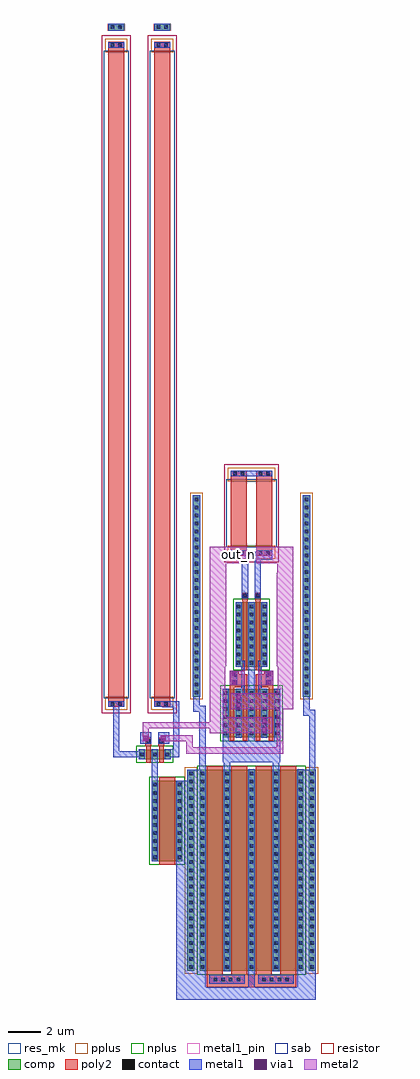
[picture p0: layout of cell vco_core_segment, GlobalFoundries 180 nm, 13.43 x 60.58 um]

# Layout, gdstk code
from math import pi, radians
import gdstk
lib = gdstk.Library(unit=1e-6, precision=1e-09)
def R(c, l, rs):  # rectangles x0, y0, x1, y1
    for r in rs: c.add(gdstk.rectangle(r[:2], r[2:], *l))
def A(c, l, x, y, w, h, nx, ny, dx, dy):  # array of equal rectangles
    R(c, l, [(x+i*dx, y+j*dy, x+i*dx+w, y+j*dy+h) for i in range(nx) for j in range(ny)])
def P(c, l, *ps):  # polygons
    for p in ps: c.add(gdstk.Polygon(p, *l))
comp = (22, 0)
poly2 = (30, 0)
pplus = (31, 0)
nplus = (32, 0)
contact = (33, 0)
metal1 = (34, 0)
metal1_pin = (34, 10)
via1 = (35, 0)
metal2 = (36, 0)
sab = (49, 0)
resistor = (62, 0)
res_mk = (110, 5)

nfet_4 = lib.new_cell('nfet$4')
R(nfet_4, comp, [(0,0,1.96,0.6)])
R(nfet_4, poly2, [(0.44,-0.22,0.72,0.82), (1.24,-0.22,1.52,0.82)])
R(nfet_4, nplus, [(-0.16,-0.23,2.12,0.83)])
A(nfet_4, contact, 0.07, 0.19, 0.22, 0.22, 3, 1, 0.8, 0)
A(nfet_4, metal1, -0.01, -0.01, 0.38, 0.62, 3, 1, 0.8, 0)

nfet_5 = lib.new_cell('nfet$5')
R(nfet_5, comp, [(0,0,1.96,4)])
R(nfet_5, poly2, [(0.44,-0.22,0.72,4.22), (1.24,-0.22,1.52,4.22)])
R(nfet_5, nplus, [(-0.16,-0.23,2.12,4.23)])
A(nfet_5, contact, 0.07, 0.14, 0.22, 0.22, 3, 8, 0.8, 0.5)
A(nfet_5, metal1, -0.01, -0.01, 0.38, 4.02, 3, 1, 0.8, 0)

nfet_7 = lib.new_cell('nfet$7')
R(nfet_7, comp, [(0,0,3.56,3)])
A(nfet_7, poly2, 0.44, -0.22, 0.28, 3.44, 4, 1, 0.8, 0)
R(nfet_7, nplus, [(-0.16,-0.23,3.72,3.23)])
A(nfet_7, contact, 0.07, 0.14, 0.22, 0.22, 5, 6, 0.8, 0.5)
A(nfet_7, metal1, -0.01, -0.01, 0.38, 3.02, 5, 1, 0.8, 0)

nfet_10 = lib.new_cell('nfet$10')
R(nfet_10, comp, [(0,0,1.88,5)])
R(nfet_10, poly2, [(0.44,-0.22,1.44,5.22)])
R(nfet_10, nplus, [(-0.16,-0.23,2.04,5.23)])
A(nfet_10, contact, 0.07, 0.14, 0.22, 0.22, 1, 10, 0, 0.5)
A(nfet_10, contact, 1.59, 0.14, 0.22, 0.22, 1, 10, 0, 0.5)
R(nfet_10, metal1, [(-0.01,-0.01,0.37,5.01), (1.51,-0.01,1.89,5.01)])

ppolyf_u_high_rs_resisto = lib.new_cell('ppolyf_u_high_Rs_resistor')
R(ppolyf_u_high_rs_resisto, comp, [(-1.76,0,-1.34,1)])
R(ppolyf_u_high_rs_resisto, poly2, [(-0.64,0,40.64,1)])
R(ppolyf_u_high_rs_resisto, pplus, [(-0.82,-0.18,0,1.18), (40,-0.18,40.82,1.18), (-1.78,-0.02,-1.32,1.02)])
R(ppolyf_u_high_rs_resisto, contact, [(-1.66,0.155,-1.44,0.375), (-0.57,0.155,-0.35,0.375), (40.35,0.155,40.57,0.375), (-1.66,0.625,-1.44,0.845), (-0.57,0.625,-0.35,0.845), (40.35,0.625,40.57,0.845)])
R(ppolyf_u_high_rs_resisto, metal1, [(-1.76,0,-1.34,1), (-0.63,0.01,-0.29,0.99), (40.29,0.01,40.63,0.99)])
R(ppolyf_u_high_rs_resisto, sab, [(-0.1,-0.28,40.1,1.28)])
R(ppolyf_u_high_rs_resisto, resistor, [(-1.04,-0.4,41.04,1.4)])
R(ppolyf_u_high_rs_resisto, res_mk, [(0,0,40,1)])

nfet = lib.new_cell('nfet')
R(nfet, comp, [(-0.76,0,-0.32,12.5), (0,0,6.44,12.5)])
A(nfet, poly2, 0.44, -0.22, 1, 12.94, 4, 1, 1.52, 0)
R(nfet, pplus, [(-0.92,-0.16,-0.16,12.66)])
R(nfet, nplus, [(-0.16,-0.23,6.6,12.73)])
A(nfet, contact, -0.65, 0.14, 0.22, 0.22, 1, 25, 0, 0.5)
A(nfet, contact, 0.07, 0.14, 0.22, 0.22, 5, 25, 1.52, 0.5)
A(nfet, metal1, -0.01, -0.01, 0.38, 12.52, 5, 1, 1.52, 0)
R(nfet, metal1, [(-0.76,0,-0.32,12.5)])

nfet_11_1 = lib.new_cell('nfet$11$1')
R(nfet_11_1, comp, [(-0.76,0,-0.32,12.5)])
R(nfet_11_1, pplus, [(-0.92,-0.16,-0.16,12.66)])
A(nfet_11_1, contact, -0.65, 0.14, 0.22, 0.22, 1, 25, 0, 0.5)
R(nfet_11_1, metal1, [(-0.76,0,-0.32,12.5)])

clip = lib.new_cell('CLIP')
clip.add(gdstk.Reference(nfet_11_1, (-3.23,-12.86), rotation=pi, x_reflection=True))

vco_core_segment = lib.new_cell('vco_core_segment')
R(vco_core_segment, poly2, [(-9.23,-13.87,-3.67,-13.08), (-13.03,1.1,-12.67,1.24), (-12.23,1.1,-11.87,1.24), (-13.03,1.24,-12.67,1.6), (-12.23,1.24,-11.87,1.6), (-7.625,4.87,-7.265,5.23), (-5.635,4.87,-5.275,5.23), (-7.79,5.02,-7.625,5.7), (-7.625,5.02,-6.71,5.56), (-6.19,5.02,-5.275,5.56), (-5.275,5.02,-5.11,5.7), (-7.625,5.34,-7.265,5.7), (-5.635,5.34,-5.275,5.7), (-7.625,5.56,-7.23,5.7), (-5.67,5.56,-5.275,5.7), (-7.03,10.12,-6.67,10.26), (-6.23,10.12,-5.87,10.26), (-7.03,10.26,-6.67,10.62), (-6.23,10.26,-5.87,10.62), (-7.75,12.905,-6.75,18.185), (-6.15,12.905,-5.15,18.185)])
R(vco_core_segment, pplus, [(-7.93,12.725,-4.97,13.545), (-7.93,17.545,-4.97,18.365)])
A(vco_core_segment, contact, -8.79, -13.49, 0.22, 0.22, 4, 1, 0.47, 0)
A(vco_core_segment, contact, -5.775, -13.49, 0.22, 0.22, 4, 1, 0.47, 0)
R(vco_core_segment, contact, [(-12.96,1.31,-12.74,1.53), (-12.16,1.31,-11.94,1.53), (-7.555,4.94,-7.335,5.16), (-5.565,4.94,-5.345,5.16), (-7.555,5.41,-7.335,5.63), (-5.565,5.41,-5.345,5.63), (-6.96,10.33,-6.74,10.55), (-6.16,10.33,-5.94,10.55), (-7.595,12.975,-7.375,13.195), (-7.125,12.975,-6.905,13.195), (-5.995,12.975,-5.775,13.195), (-5.525,12.975,-5.305,13.195), (-7.595,17.895,-7.375,18.115), (-7.125,17.895,-6.905,18.115), (-5.995,17.895,-5.775,18.115), (-5.525,17.895,-5.305,18.115)])
R(vco_core_segment, metal1, [(-11.12,-14.63,-3.03,-13.87), (-3.03,-14.63,-2.47,-14.25), (-11.12,-14.25,-10.74,-6.06), (-3.22,-14.25,-2.47,-0.36), (-10.74,-13.87,-9.99,-12.86), (-9.99,-13.87,-9.68,-0.36), (-9.07,-13.64,-6.87,-13.1), (-6.03,-13.64,-3.83,-13.1), (-10.74,-12.86,-10.43,-1.04), (-12.64,-1.04,-12.26,0.27), (-11.46,0.77,-11.305,0.89), (-13.36,1.24,-12.66,1.95), (-12.24,1.24,-11.54,1.95), (-6.64,4.65,-6.26,6.01), (-7.79,4.88,-7.33,5.78), (-5.57,4.88,-5.11,5.78), (-7.04,10.26,-6.66,10.44), (-6.24,10.26,-5.86,10.44), (-7.74,12.665,-6.76,13.255), (-6.14,12.665,-5.16,13.255), (-7.74,17.835,-6.76,18.175), (-6.76,17.835,-6.14,18.175), (-6.14,17.835,-5.16,18.175)])
P(vco_core_segment, metal1, [(-8.16,-0.35),(-8.16,0.1),(-8.24,0.1),(-8.24,1.63),(-7.86,1.63),(-7.86,1.4),(-6.64,1.4),(-6.64,1.63),(-6.26,1.63),(-6.26,1.4),(-5.04,1.4),(-5.04,1.63),(-4.66,1.63),(-4.66,0.1),(-4.74,0.1),(-4.74,-0.35),(-5.12,-0.35),(-5.12,0.1),(-7.78,0.1),(-7.78,-0.35)])
R(vco_core_segment, metal1_pin, [(-7.74,12.665,-6.76,13.255), (-6.14,12.665,-5.16,13.255)])
R(vco_core_segment, via1, [(-13.14,1.465,-12.88,1.725), (-12.02,1.465,-11.76,1.725), (-5.78,2,-5.52,2.26), (-5.78,2.52,-5.52,2.78), (-7.38,3.5,-7.12,3.76), (-7.38,4.02,-7.12,4.28), (-7.69,4.945,-7.43,5.205), (-5.47,4.945,-5.21,5.205), (-7.69,5.465,-7.43,5.725), (-5.47,5.465,-5.21,5.725)])
R(vco_core_segment, metal2, [(-7.79,4.88,-7.33,5.78), (-7.33,4.88,-6.87,5.78), (-6.03,4.88,-5.57,5.78), (-5.57,4.88,-5.11,5.78)])
P(vco_core_segment, metal2, [(-13.2,1.405),(-13.2,2.575),(-9.03,2.575),(-9.03,13.46),(-6.75,13.46),(-6.75,12.46),(-8.03,12.46),(-8.03,6.06),(-8.07,6.06),(-8.07,4.6),(-8.03,4.6),(-8.03,2.89),(-5.15,2.89),(-5.15,1.89),(-9.03,1.89),(-9.03,2.195),(-12.82,2.195),(-12.82,1.405)],
  [(-7.75,3.39),(-7.75,4.39),(-4.87,4.39),(-4.87,4.6),(-4.83,4.6),(-4.83,6.06),(-4.87,6.06),(-4.87,11.845),(-4.865,11.845),(-4.865,12.46),(-6.15,12.46),(-6.15,13.46),(-3.865,13.46),(-3.865,10.845),(-3.87,10.845),(-3.87,3.39)],
  [(-10.49,0.635),(-10.49,1.405),(-12.08,1.405),(-12.08,1.785),(-10.11,1.785),(-10.11,1.015),(-4.87,1.015),(-4.87,3.58),(-4.49,3.58),(-4.49,0.635)])
R(vco_core_segment, sab, [(-8.03,13.445,-6.47,17.645), (-6.47,13.445,-6.43,17.645), (-6.43,13.445,-4.87,17.645)])
R(vco_core_segment, resistor, [(-8.15,12.505,-6.35,18.585), (-6.55,12.505,-4.75,18.585)])
R(vco_core_segment, res_mk, [(-7.75,13.545,-6.75,17.545), (-6.75,13.545,-6.15,17.545), (-6.15,13.545,-5.15,17.545)])
vco_core_segment.add(gdstk.FlexPath([(-7.25,4.39),(-6.985,4.39),(-6.985,6.27),(-7.25,6.27)], 0.23, ends="flush", simple_path=True, layer=34, datatype=0))  # metal1
vco_core_segment.add(gdstk.FlexPath([(-5.65,4.39),(-5.915,4.39),(-5.915,6.27),(-5.65,6.27)], 0.23, ends="flush", simple_path=True, layer=34, datatype=0))  # metal1
vco_core_segment.add(gdstk.FlexPath([(-6.85,10.44),(-6.85,12.96),(-7.25,12.96)], 0.38, ends="flush", simple_path=True, layer=34, datatype=0))  # metal1
vco_core_segment.add(gdstk.FlexPath([(-6.05,10.44),(-6.05,12.96),(-5.65,12.96)], 0.38, ends="flush", simple_path=True, layer=34, datatype=0))  # metal1
vco_core_segment.add(gdstk.FlexPath([(-9.49,-12.87),(-9.49,-14.25)], 0.38, ends="flush", simple_path=True, layer=34, datatype=0))  # metal1
vco_core_segment.add(gdstk.FlexPath([(-6.45,-12.87),(-6.45,-14.25)], 0.38, ends="flush", simple_path=True, layer=34, datatype=0))  # metal1
vco_core_segment.add(gdstk.FlexPath([(-3.41,-12.87),(-3.41,-14.25)], 0.38, ends="flush", simple_path=True, layer=34, datatype=0))  # metal1
vco_core_segment.add(gdstk.FlexPath([(-13.25,0.58),(-14.84,0.58),(-14.84,3.705)], 0.38, ends="flush", simple_path=True, layer=34, datatype=0))  # metal1
vco_core_segment.add(gdstk.FlexPath([(-11.65,0.58),(-11.115,0.58),(-11.115,3.705),(-11.985,3.705)], 0.38, ends="flush", simple_path=True, layer=34, datatype=0))  # metal1
vco_core_segment.add(gdstk.FlexPath([(-9.49,-0.35),(-9.49,3.41),(-9.865,3.41),(-9.865,4.165),(-9.865,4.165)], 0.38, ends="flush", simple_path=True, layer=34, datatype=0))  # metal1
vco_core_segment.add(gdstk.FlexPath([(-2.69,-0.36),(-2.69,3.17),(-3.035,3.17),(-3.035,4.165)], 0.38, ends="flush", simple_path=True, layer=34, datatype=0))  # metal1
vco_core_segment.add(gdstk.FlexPath([(-7.65,4.86),(-7.65,4.88),(-6.85,4.88),(-6.85,4.86)], 0.28, ends="extended", simple_path=True, layer=30, datatype=0))  # poly2
vco_core_segment.add(gdstk.FlexPath([(-5.25,4.86),(-5.25,4.88),(-6.05,4.88),(-6.05,4.86)], 0.28, ends="extended", simple_path=True, layer=30, datatype=0))  # poly2
vco_core_segment.add(gdstk.Reference(nfet_4, (-11.47,0.28), rotation=pi, x_reflection=True))
vco_core_segment.add(gdstk.Reference(nfet_5, (-7.43,6.02)))
vco_core_segment.add(gdstk.Reference(nfet_7, (-8.23,1.64)))
vco_core_segment.add(gdstk.Reference(nfet_10, (-10.75,-6.05), rotation=pi, x_reflection=True))
vco_core_segment.add(gdstk.Reference(ppolyf_u_high_rs_resisto, (-15.34,44.165), rotation=3*pi/2))
vco_core_segment.add(gdstk.Reference(ppolyf_u_high_rs_resisto, (-12.485,44.165), rotation=3*pi/2))
vco_core_segment.add(gdstk.Reference(nfet, (-3.23,-12.86), rotation=pi, x_reflection=True))
vco_core_segment.add(gdstk.Reference(clip, (-7.52,0)))
vco_core_segment.add(gdstk.Reference(clip, (-7.175,17.025)))
vco_core_segment.add(gdstk.Reference(clip, (-0.345,17.025)))
vco_core_segment.add(gdstk.Label('out_n', (-7.25,12.96), layer=34, texttype=10))
vco_core_segment.add(gdstk.Label('out_p', (-5.65,12.96), layer=34, texttype=10))

lib.write_gds('vco_core_segment.gds')
